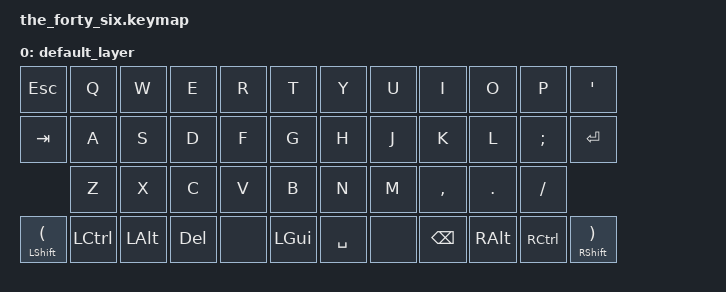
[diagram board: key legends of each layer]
#include <behaviors.dtsi>
#include <dt-bindings/zmk/keys.h>

/ {
    keymap {
        compatible = "zmk,keymap";

        default_layer { // Layer 0
            bindings = <
 &kp ESC        &kp Q          &kp W          &kp E          &kp R          &kp T                 &kp Y          &kp U          &kp I          &kp O          &kp P          &kp APOS
 &kp TAB        &kp A          &kp S          &kp D          &kp F          &kp G                 &kp H          &kp J          &kp K          &kp L          &kp SEMI       &kp ENTER
                &kp Z          &kp X          &kp C          &kp V          &kp B                 &kp N          &kp M          &kp COMMA      &kp DOT        &kp FSLH      
 &mt LSHFT LPAR &kp LCTRL      &kp LALT       &kp DEL        &none          &kp LGUI              &kp SPACE      &none          &kp BSPC       &kp RALT       &kp RCTRL      &mt RSHFT RPAR
            >;
        };
    };
 };
